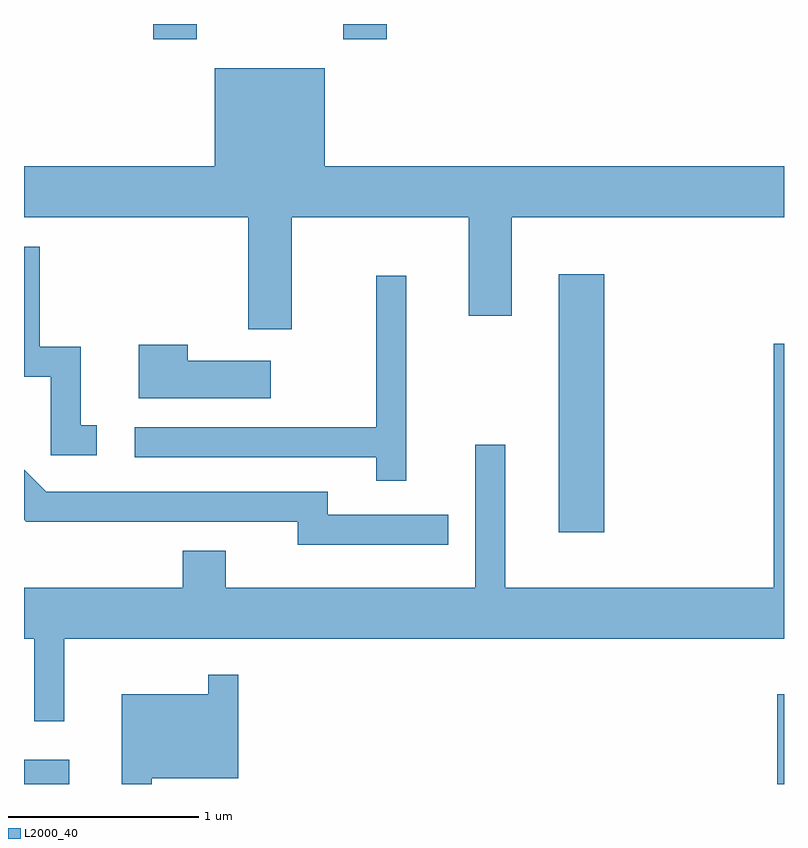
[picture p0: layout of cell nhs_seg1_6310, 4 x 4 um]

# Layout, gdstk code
import gdstk
lib = gdstk.Library(unit=1e-6, precision=1e-09)
def R(c, l, rs):  # rectangles x0, y0, x1, y1
    for r in rs: c.add(gdstk.rectangle(r[:2], r[2:], *l))
def P(c, l, *ps):  # polygons
    for p in ps: c.add(gdstk.Polygon(p, *l))
L2000_40 = (2000, 40)

nhs_seg1_6310 = lib.new_cell('nhs_seg1_6310')
R(nhs_seg1_6310, L2000_40, [(375.611,887.712,375.849,887.839), (379.576,887.712,379.611,888.184), (378.426,889.036,378.664,890.394), (376.291,891.631,376.519,891.712), (377.291,891.631,377.519,891.712)])
P(nhs_seg1_6310, L2000_40, [(377.019,890.696),(377.951,890.696),(377.951,890.176),(378.179,890.176),(378.179,890.696),(379.611,890.696),(379.611,890.964),(377.194,890.964),(377.194,891.479),(376.616,891.479),(376.616,890.964),(375.611,890.964),(375.611,890.696),(376.791,890.696),(376.791,890.106),(377.019,890.106)],
  [(375.993,889.599),(375.909,889.599),(375.909,890.014),(375.694,890.014),(375.694,890.539),(375.611,890.539),(375.611,889.856),(375.751,889.856),(375.751,889.441),(375.993,889.441)],
  [(377.624,890.388),(377.466,890.388),(377.466,889.589),(376.193,889.589),(376.193,889.431),(377.466,889.431),(377.466,889.308),(377.624,889.308)],
  [(375.824,888.476),(379.611,888.476),(379.611,890.029),(379.556,890.029),(379.556,888.744),(378.144,888.744),(378.144,889.498),(377.986,889.498),(377.986,888.744),(376.674,888.744),(376.674,888.939),(376.446,888.939),(376.446,888.744),(375.611,888.744),(375.611,888.476),(375.666,888.476),(375.666,888.043),(375.824,888.043)],
  [(376.909,889.939),(376.474,889.939),(376.474,890.024),(376.216,890.024),(376.216,889.741),(376.909,889.741)],
  [(377.843,889.129),(377.209,889.129),(377.209,889.249),(375.727,889.249),(375.611,889.365),(375.611,889.104),(375.624,889.091),(377.051,889.091),(377.051,888.971),(377.843,888.971)],
  [(376.284,887.741),(376.739,887.741),(376.739,888.288),(376.581,888.288),(376.581,888.184),(376.126,888.184),(376.126,887.712),(376.284,887.712)])

lib.write_gds('nhs_seg1_6310.gds')
